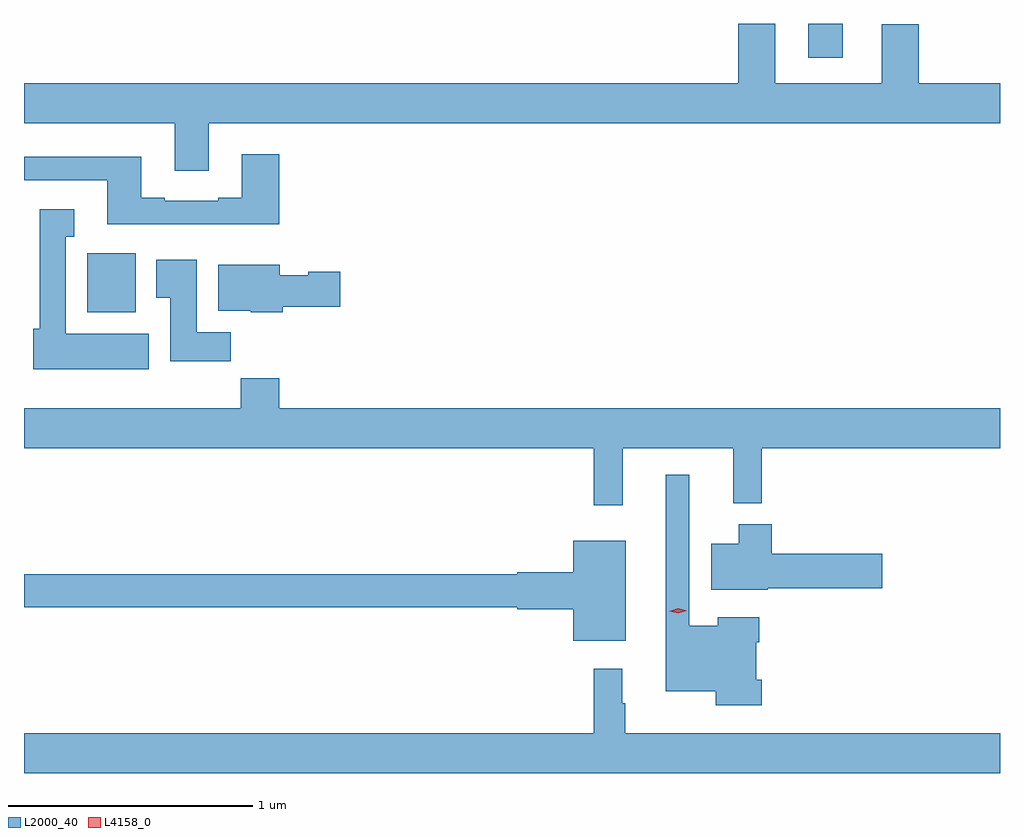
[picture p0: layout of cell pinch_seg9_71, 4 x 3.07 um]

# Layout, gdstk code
import gdstk
lib = gdstk.Library(unit=1e-6, precision=1e-09)
def R(c, l, rs):  # rectangles x0, y0, x1, y1
    for r in rs: c.add(gdstk.rectangle(r[:2], r[2:], *l))
def P(c, l, *ps):  # polygons
    for p in ps: c.add(gdstk.Polygon(p, *l))
L2000_40 = (2000, 40)
L4158_0 = (4158, 0)

pinch_seg9_71 = lib.new_cell('pinch_seg9_71')
R(pinch_seg9_71, L2000_40, [(975.44,1203.638,975.637,1203.88), (978.395,1204.68,978.535,1204.821)])
P(pinch_seg9_71, L2000_40, [(975.937,1204.412),(979.18,1204.412),(979.18,1204.576),(978.848,1204.576),(978.848,1204.819),(978.695,1204.819),(978.695,1204.576),(978.259,1204.576),(978.259,1204.821),(978.107,1204.821),(978.107,1204.576),(975.18,1204.576),(975.18,1204.412),(975.797,1204.412),(975.797,1204.218),(975.937,1204.218)],
  [(976.226,1204.285),(976.073,1204.285),(976.073,1204.108),(975.977,1204.108),(975.977,1204.095),(975.757,1204.095),(975.757,1204.108),(975.661,1204.108),(975.661,1204.276),(975.18,1204.276),(975.18,1204.179),(975.521,1204.179),(975.521,1203.998),(976.226,1203.998)],
  [(975.691,1203.55),(975.352,1203.55),(975.352,1203.947),(975.385,1203.947),(975.385,1204.06),(975.245,1204.06),(975.245,1203.57),(975.218,1203.57),(975.218,1203.404),(975.691,1203.404)],
  [(976.028,1203.556),(975.889,1203.556),(975.889,1203.853),(975.722,1203.853),(975.722,1203.697),(975.779,1203.697),(975.779,1203.438),(976.028,1203.438)],
  [(976.241,1203.661),(976.477,1203.661),(976.477,1203.803),(976.344,1203.803),(976.344,1203.79),(976.228,1203.79),(976.228,1203.832),(975.977,1203.832),(975.977,1203.644),(976.11,1203.644),(976.11,1203.638),(976.241,1203.638)],
  [(977.633,1203.08),(978.086,1203.08),(978.086,1202.855),(978.203,1202.855),(978.203,1203.08),(979.18,1203.08),(979.18,1203.244),(976.226,1203.244),(976.226,1203.368),(976.069,1203.368),(976.069,1203.244),(975.18,1203.244),(975.18,1203.08),(977.515,1203.08),(977.515,1202.847),(977.633,1202.847)],
  [(978.203,1202.131),(978.181,1202.131),(978.181,1202.285),(978.194,1202.285),(978.194,1202.389),(978.023,1202.389),(978.023,1202.353),(977.907,1202.353),(977.907,1202.971),(977.81,1202.971),(977.81,1202.084),(978.016,1202.084),(978.016,1202.027),(978.203,1202.027)],
  [(978.228,1202.507),(978.697,1202.507),(978.697,1202.649),(978.245,1202.649),(978.245,1202.77),(978.11,1202.77),(978.11,1202.689),(977.996,1202.689),(977.996,1202.501),(978.228,1202.501)],
  [(977.647,1202.701),(977.432,1202.701),(977.432,1202.572),(977.202,1202.572),(977.202,1202.564),(975.18,1202.564),(975.18,1202.428),(977.202,1202.428),(977.202,1202.42),(977.432,1202.42),(977.432,1202.291),(977.647,1202.291)],
  [(979.18,1201.912),(977.644,1201.912),(977.644,1202.036),(977.632,1202.036),(977.632,1202.176),(977.515,1202.176),(977.515,1201.912),(975.18,1201.912),(975.18,1201.748),(979.18,1201.748)])
P(pinch_seg9_71, L4158_0, [(977.862,1202.404),(977.825,1202.412),(977.825,1202.412),(977.825,1202.412),(977.861,1202.424),(977.897,1202.415),(977.897,1202.415),(977.897,1202.415)])

lib.write_gds('pinch_seg9_71.gds')
